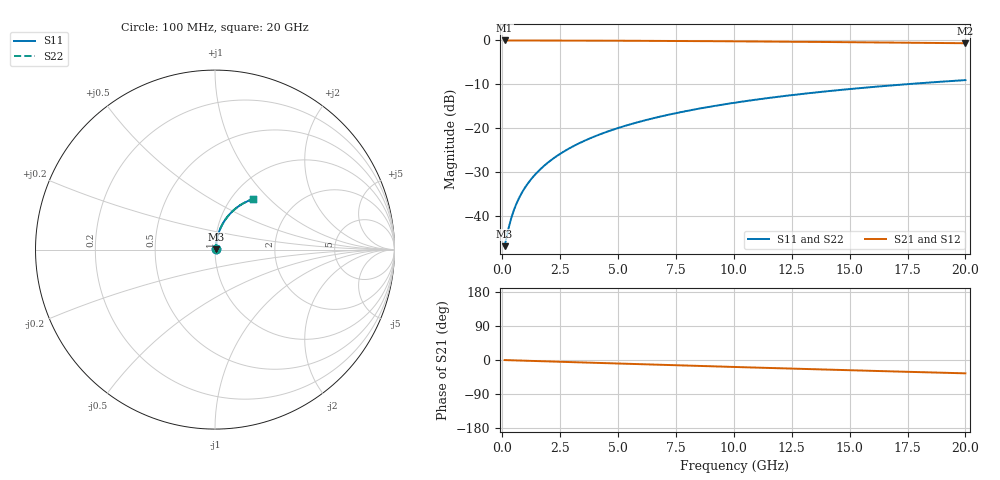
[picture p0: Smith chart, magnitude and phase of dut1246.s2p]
! Touchstone file exported from HFSS 2026.1.0
!  File:  C:/ffzhzh/LocalFiles/Ansys_Project_Files/temp_train_TMRDL_1246_1783163752_18472.aedt
!  Generated:  07:17:08 PM Jul  4, 2026
!  Design:  TMRDL
!  Project:  temp_train_TMRDL_1246_1783163752_18472
! Variables:
!  h_bsmrdl = 2um
!  h_ox = 20um
!  h_rdl = 5um
!  h_sub = 80um
!  h_tmrdl = 2.42um
!  h_tsv = 80um
!  h_via = 3um
!  l_bsmrdl = 300um
!  l_sub = 881.22um
!  l_tmrdl = 481.22um
!  m_sub = 200um
!  pitch = 44.88um
!  r_tsv = 6um
!  s_tmrdl = 10um
!  w_bsmrdl = 18um
!  w_sub = 500um
!  w_tmrdl = 19.4um
!  x_tsv_center1 = 490.92um
!  x_tsv_center2 = 808.92um
!  x_tsv_center3 = 1309.54um
!  x_tsv_center4 = 1627.54um
!  x_tsv_center5 = 2128.16um
!  x_tsv_center6 = 2446.16um
# GHz S MA R 50.000000
! Terminal data exported
! Port[1] = TM_RDL1_1_T1
! Port[2] = TM_RDL1_1_T2
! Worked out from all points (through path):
!   200 points, 100 MHz to 20 GHz, reference 50 ohm
!   highest |S21| = -0.03 dB at 100 MHz (marker M1); lowest = -0.7 dB at 20 GHz (marker M2)
!   group delay of S21, straight-line fit = 4.9 ps
!   lowest |S11| = -47.0 dB at 100 MHz (marker M3), VSWR 1.01, Z = 50.4 + j0.22 ohm
!   |S11| at or under -10 dB: start of sweep to 17.52 GHz
!   |S22| runs from -47.0 to -9.1 dB; largest |S21 - S12| = 2.1e-15
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0.1  0.004467 29.3  0.9961 -0.2  0.9961 -0.2  0.004467 29.3
! Gamma 0 0 0 0
! Port Impedance 50 0 50 0
0.3  0.007682 57.3  0.9959 -0.6  0.9959 -0.6  0.007682 57.3
0.4  0.00957 63.1  0.9958 -0.8  0.9958 -0.8  0.00957 63.1
0.5  0.01149 66.9  0.9956 -1.0  0.9956 -1.0  0.01149 66.9
0.6  0.01343 69.5  0.9955 -1.2  0.9955 -1.2  0.01343 69.5
0.8  0.0173 73.0  0.9952 -1.5  0.9952 -1.5  0.0173 73.0
1.1  0.02312 75.9  0.9949 -2.1  0.9949 -2.1  0.02312 75.9
1.3  0.02703 77.1  0.9948 -2.5  0.9948 -2.5  0.02703 77.1
1.6  0.03291 78.3  0.9945 -3.0  0.9945 -3.0  0.03291 78.3
2.1  0.04275 79.2  0.994 -3.9  0.994 -3.9  0.04275 79.2
2.7  0.05459 79.4  0.9933 -5.1  0.9933 -5.1  0.05459 79.5
3.5  0.07036 79.1  0.9921 -6.5  0.9921 -6.5  0.07036 79.1
4.2  0.0841 78.4  0.9909 -7.8  0.9909 -7.8  0.0841 78.4
5  0.09969 77.4  0.9893 -9.3  0.9893 -9.3  0.09969 77.4
5.9  0.1171 76.1  0.9871 -11.0  0.9871 -11.0  0.1171 76.1
6.8  0.1342 74.7  0.9847 -12.6  0.9847 -12.6  0.1342 74.7
8.3  0.1623 72.3  0.98 -15.3  0.98 -15.3  0.1623 72.3
10.1  0.195 69.3  0.9734 -18.5  0.9734 -18.5  0.195 69.3
11.7  0.2231 66.6  0.9669 -21.3  0.9669 -21.3  0.2231 66.6
13.4  0.2518 63.8  0.9593 -24.3  0.9593 -24.3  0.2518 63.8
16.7  0.304 58.4  0.9433 -29.8  0.9433 -29.8  0.304 58.4
20  0.3513 53.1  0.9261 -35.2  0.9261 -35.2  0.3513 53.2
